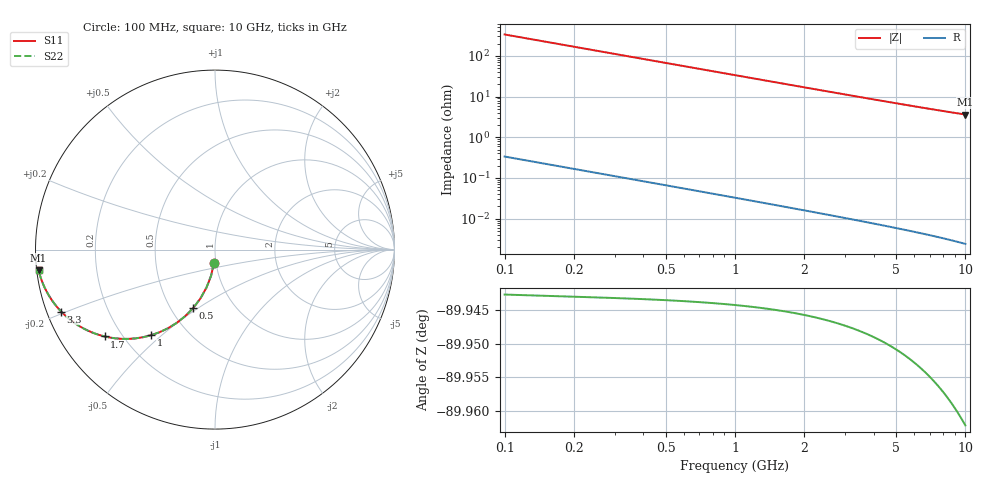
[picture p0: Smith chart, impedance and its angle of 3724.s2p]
# Hz S RI R 50.00
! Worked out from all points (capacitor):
!   100 points, 100 MHz to 10 GHz, reference 50 ohm
!   read as one part in shunt: C = 4.73 pF near 100 MHz
!   lowest |Z| = 3.63 ohm at 10 GHz (marker M1)
!   S11 on the Smith chart (normalised r, x): 100 MHz: 0.98, -0.15; 500 MHz: 0.64, -0.48; 1 GHz: 0.31, -0.46; 1.7 GHz: 0.14, -0.34; 3.3 GHz: 0.04, -0.19; 10 GHz: 0.01, -0.06
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1e8  -0.00552 -0.0738  0.9944 -0.074  0.9944 -0.074  -0.00552 -0.0738
2e8  -0.0217 -0.1451  0.9782 -0.1456  0.9782 -0.1456  -0.0217 -0.1451
3e8  -0.0475 -0.2119  0.9524 -0.2127  0.9524 -0.2127  -0.0475 -0.2119
4e8  -0.0814 -0.2725  0.9185 -0.2735  0.9185 -0.2735  -0.0814 -0.2725
5e8  -0.1215 -0.3257  0.8784 -0.3269  0.8784 -0.3269  -0.1215 -0.3257
6e8  -0.166 -0.3709  0.8339 -0.3724  0.8339 -0.3724  -0.166 -0.3709
7e8  -0.2132 -0.4082  0.7867 -0.41  0.7867 -0.41  -0.2132 -0.4082
8e8  -0.2613 -0.4378  0.7386 -0.4399  0.7386 -0.4399  -0.2613 -0.4378
1e9  -0.3558 -0.477  0.6441 -0.4795  0.6441 -0.4795  -0.3558 -0.477
1.3e9  -0.4827 -0.4975  0.5172 -0.5008  0.5172 -0.5008  -0.4827 -0.4975
1.7e9  -0.6146 -0.484  0.3853 -0.4883  0.3853 -0.4883  -0.6146 -0.484
1.8e9  -0.6412 -0.4768  0.3586 -0.4814  0.3586 -0.4814  -0.6412 -0.4768
2.1e9  -0.7086 -0.4512  0.2912 -0.4565  0.2912 -0.4565  -0.7086 -0.4512
2.5e9  -0.7751 -0.4138  0.2248 -0.4202  0.2248 -0.4202  -0.7751 -0.4138
2.9e9  -0.8226 -0.3777  0.1773 -0.3852  0.1773 -0.3852  -0.8226 -0.3777
3.3e9  -0.8572 -0.345  0.1426 -0.3535  0.1426 -0.3535  -0.8572 -0.345
3.4e9  -0.8644 -0.3374  0.1355 -0.3461  0.1355 -0.3461  -0.8644 -0.3374
4.2e9  -0.9068 -0.2846  0.093 -0.2954  0.093 -0.2954  -0.9068 -0.2846
5.1e9  -0.935 -0.2393  0.0648 -0.2525  0.0648 -0.2525  -0.935 -0.2393
6.7e9  -0.9614 -0.1829  0.0383 -0.2005  0.0383 -0.2005  -0.9614 -0.1829
8.4e9  -0.9753 -0.1429  0.0243 -0.1653  0.0243 -0.1653  -0.9753 -0.1429
1e10  -0.9826 -0.1158  0.0169 -0.1429  0.0169 -0.1429  -0.9826 -0.1158
